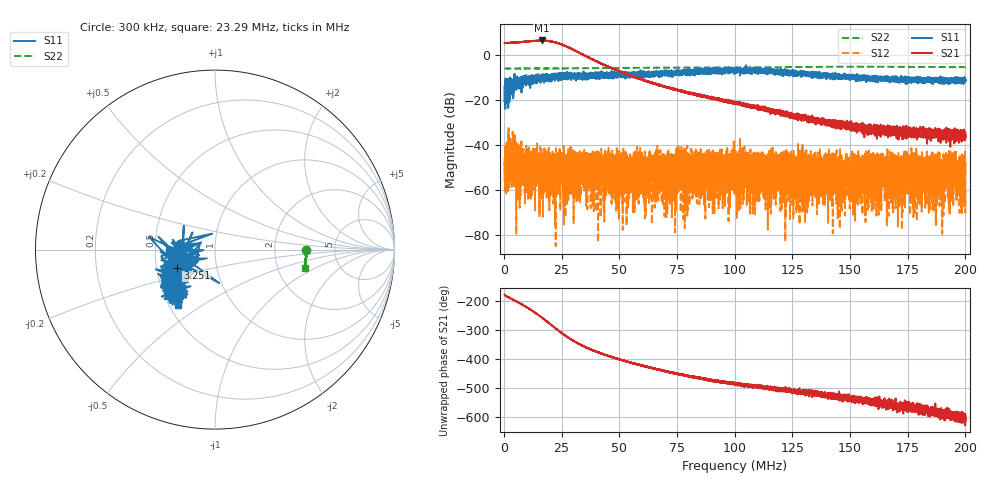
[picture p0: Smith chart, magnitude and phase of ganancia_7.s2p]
# Hz S DB R 50
! CMT, M5065, 19127446, 24.2.4/2
! Date: 11/8/2024 4:52:02 PM
! Data: Format (Calibration Info)
! Freq	S11:dB/Ang(F2)	S21:dB/Ang(F2)	S12:dB/Ang(F2)	S22:dB/Ang(F2)
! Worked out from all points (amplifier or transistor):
!   9000 points, 300 kHz to 200 MHz, reference 50 ohm
!   highest |S21| = 6.6 dB at 16.34 MHz (marker M1)
!   |S21| within 3 dB of that: start of sweep to 27.61 MHz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
!   unconditionally stable (mu >= 1): start of sweep to end of sweep
!   at 33.59 MHz: K = 111.02, MAG = 2.5 dB, |S12| = -51.3 dB
!   at 100.2 MHz: K = 3150.17, MAG = -18.7 dB, |S12| = -59.7 dB
!   at 200 MHz: K = 4825.26, MAG = -34.1 dB, |S12| = -47.5 dB
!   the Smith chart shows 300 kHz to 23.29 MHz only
!   S11 on the Smith chart (normalised r, x): 300 kHz: 0.67, +0.04; 3.251 MHz: 0.64, -0.14; 23.29 MHz: 0.56, -0.40
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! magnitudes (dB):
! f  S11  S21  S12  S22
! 300 kHz  -14.1  5.5  -49.2  -5.9
! 1.498 MHz  -17.3  5.5  -40.8  -5.9
! 3.251 MHz  -12.6  5.6  -48.6  -5.9
! 8.755 MHz  -11.2  6.0  -47.5  -5.9
! 16.34 MHz  -9.6  6.6  -45.6  -5.9
! 23.29 MHz  -8.6  5.5  -51.0  -5.8
! 33.59 MHz  -9.3  0.6  -51.3  -5.8
! 57.09 MHz  -8.3  -9.8  -65.2  -5.6
! 61.33 MHz  -8.7  -11.2  -51.4  -5.6
! 66.87 MHz  -8.4  -13.0  -50.2  -5.5
! 100.2 MHz  -6.8  -21.2  -59.7  -5.4
! 129.3 MHz  -7.6  -27.5  -48.3  -5.2
! 131.4 MHz  -9.3  -27.4  -52.9  -5.2
! 133.4 MHz  -8.1  -28.2  -51.7  -5.2
! 150.5 MHz  -9.6  -30.0  -51.5  -5.1
! 162.5 MHz  -10.8  -32.4  -52.1  -5.1
! 166.7 MHz  -11.3  -35.7  -51.1  -5.1
! 183.1 MHz  -11.2  -34.1  -44.5  -5.2
! 189.5 MHz  -10.5  -34.3  -54.3  -5.3
! 195 MHz  -11.8  -36.1  -47.4  -5.3
! 198.8 MHz  -10.3  -35.9  -50.6  -5.3
! 200 MHz  -10.9  -36.0  -47.5  -5.3
